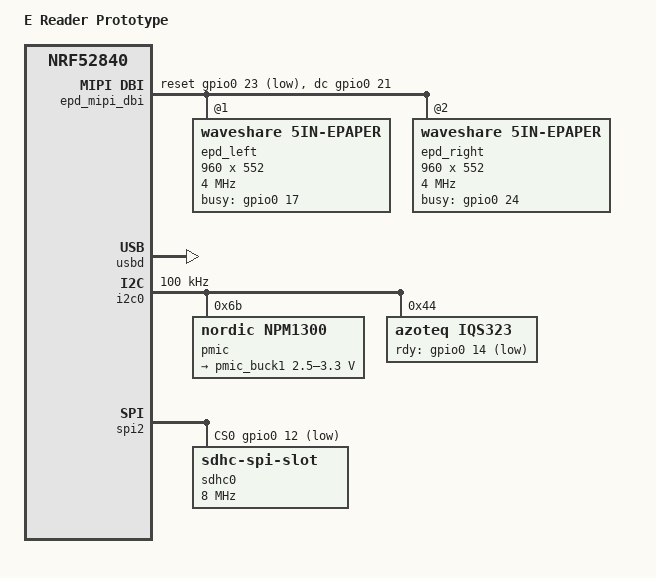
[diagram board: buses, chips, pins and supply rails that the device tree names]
/dts-v1/;

#include <nordic/nrf52840_qiaa.dtsi>
#include <dt-bindings/input/input-event-codes.h>
#include <dt-bindings/regulator/npm13xx.h>
#include "e_reader_prototype-pinctrl.dtsi"

/ {
	model = "E Reader Prototype";
	compatible = "mmaeder,e-reader-prototype";

	chosen {
		zephyr,sram = &sram0;
		zephyr,flash = &flash0;
		zephyr,code-partition = &app_partition;

		zephyr,console = &cdc_acm_uart0;
	};
};

&flash0 {
	partitions {
		compatible = "fixed-partitions";
		#address-cells = <1>;
		#size-cells = <1>;

		app_partition: partition@0 {
			label = "image-0";
			reg = <0x00000 DT_SIZE_K(992)>;
		};

		storage_partition: partition@f8000 {
			label = "storage";
			reg = <0xf8000 DT_SIZE_K(32)>;
		};
	};
};

&gpiote {
	status = "okay";
};

&gpio0 {
	status = "okay";
};

zephyr_udc0: &usbd {
	status = "okay";

	cdc_acm_uart0: cdc_acm_uart0 {
		compatible = "zephyr,cdc-acm-uart";
		label = "CDC_ACM_0";
	};
};

&i2c0 {
	compatible = "nordic,nrf-twim";
	status = "okay";
	clock-frequency = <I2C_BITRATE_STANDARD>;

	pinctrl-0 = <&i2c0_default>;
	pinctrl-1 = <&i2c0_sleep>;
	pinctrl-names = "default", "sleep";

	pmic: pmic@6b {
		compatible = "nordic,npm1300";
		reg = <0x6b>;

		pmic_leds: led-controller {
			compatible = "nordic,npm1300-led";
			nordic,led0-mode = "host";
			nordic,led1-mode = "host";
			nordic,led2-mode = "host";
		};

		pmic_gpio: gpio-controller {
			compatible = "nordic,npm1300-gpio";
			gpio-controller;
			#gpio-cells = <2>;
			ngpios = <5>;
		};

		pmic_regulators: regulators {
			compatible = "nordic,npm1300-regulator";
			status = "okay";

			pmic_buck1: BUCK1 {
				regulator-min-microvolt = <2500000>;
				regulator-max-microvolt = <3300000>;
				regulator-init-microvolt = <3300000>;
			};

			pmic_ldsw1: LDO1 {
				status = "okay";
				regulator-initial-mode = <NPM13XX_LDSW_MODE_LDSW>;
			};
		};
	};

	iqs323: iqs323@44 {
		compatible = "azoteq,iqs323";
		reg = <0x44>;
		rdy-gpios = <&gpio0 14 GPIO_ACTIVE_LOW>;
		input-codes = <INPUT_KEY_0 INPUT_KEY_1 INPUT_KEY_2>;
	};
};

&spi2 {
	compatible = "nordic,nrf-spim";
	status = "okay";

	pinctrl-0 = <&spi2_default>;
	pinctrl-1 = <&spi2_sleep>;
	pinctrl-names = "default", "sleep";

	cs-gpios = <&gpio0 12 GPIO_ACTIVE_LOW>,
		   <&gpio0 16 GPIO_ACTIVE_LOW>,
		   <&gpio0 22 GPIO_ACTIVE_LOW>;

	sdhc0: sdhc@0 {
		compatible = "zephyr,sdhc-spi-slot";
		reg = <0>;
		status = "okay";
		spi-max-frequency = <8000000>;

		mmc {
			compatible = "zephyr,sdmmc-disk";
			disk-name = "SD";
			status = "okay";
		};
	};
};

/ {
	epd_mipi_dbi: mipi_dbi {
		compatible = "zephyr,mipi-dbi-spi";
		spi-dev = <&spi2>;
		dc-gpios = <&gpio0 21 GPIO_ACTIVE_HIGH>;
		reset-gpios = <&gpio0 23 GPIO_ACTIVE_LOW>;
		write-only;
		#address-cells = <1>;
		#size-cells = <0>;

		epd_left: epd_left@1 {
			compatible = "waveshare,5in-epaper";
			reg = <1>;
			mipi-max-frequency = <4000000>;
			width = <960>;
			height = <552>;
			busy-gpios = <&gpio0 17 GPIO_ACTIVE_HIGH>;

			softstart = [ae c7 c3 c0 80];
		};

		epd_right: epd_right@2 {
			compatible = "waveshare,5in-epaper";
			reg = <2>;
			mipi-max-frequency = <4000000>;
			width = <960>;
			height = <552>;
			busy-gpios = <&gpio0 24 GPIO_ACTIVE_HIGH>;

			softstart = [ae c7 c3 c0 80];
		};
	};
};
